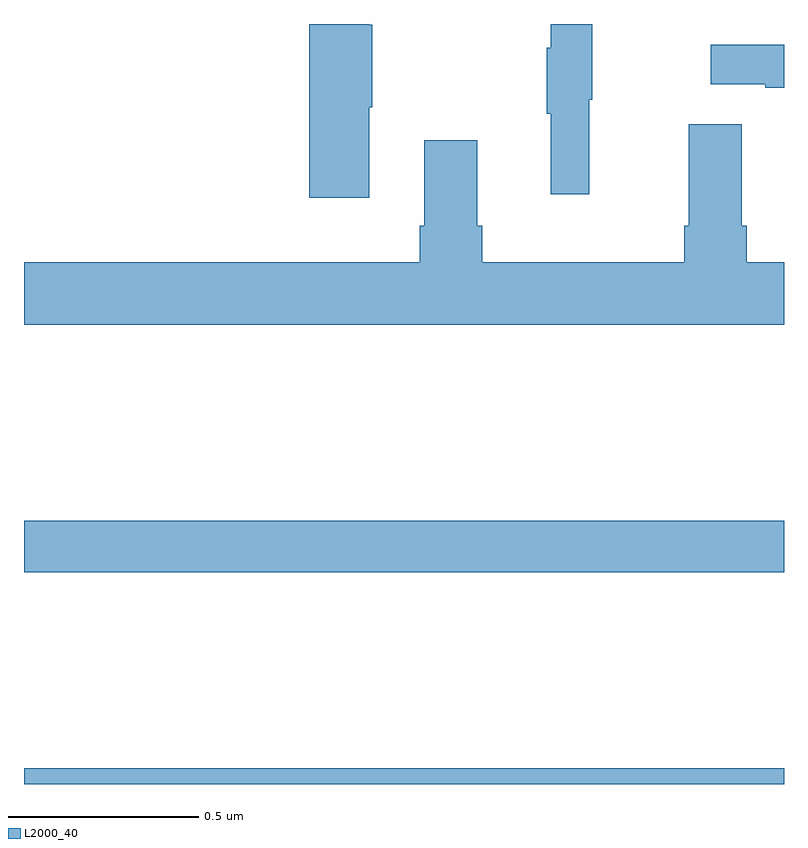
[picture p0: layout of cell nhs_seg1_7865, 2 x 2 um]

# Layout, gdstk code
import gdstk
lib = gdstk.Library(unit=1e-6, precision=1e-09)
def R(c, l, rs):  # rectangles x0, y0, x1, y1
    for r in rs: c.add(gdstk.rectangle(r[:2], r[2:], *l))
def P(c, l, *ps):  # polygons
    for p in ps: c.add(gdstk.Polygon(p, *l))
L2000_40 = (2000, 40)

nhs_seg1_7865 = lib.new_cell('nhs_seg1_7865')
R(nhs_seg1_7865, L2000_40, [(209,541.199,211,541.24), (209,541.756,211,541.892)])
P(nhs_seg1_7865, L2000_40, [(209.908,542.98),(209.916,542.98),(209.916,543.197),(209.908,543.197),(209.908,543.199),(209.75,543.199),(209.75,542.742),(209.908,542.742)],
  [(210.488,543),(210.496,543),(210.496,543.199),(210.386,543.199),(210.386,543.137),(210.375,543.137),(210.375,542.963),(210.386,542.963),(210.386,542.751),(210.488,542.751)],
  [(211,543.145),(210.807,543.145),(210.807,543.041),(210.95,543.041),(210.95,543.031),(211,543.031)],
  [(211,542.572),(210.902,542.572),(210.902,542.668),(210.889,542.668),(210.889,542.935),(210.749,542.935),(210.749,542.668),(210.737,542.668),(210.737,542.572),(210.206,542.572),(210.206,542.668),(210.193,542.668),(210.193,542.893),(210.053,542.893),(210.053,542.668),(210.041,542.668),(210.041,542.572),(209,542.572),(209,542.408),(211,542.408)])

lib.write_gds('nhs_seg1_7865.gds')
